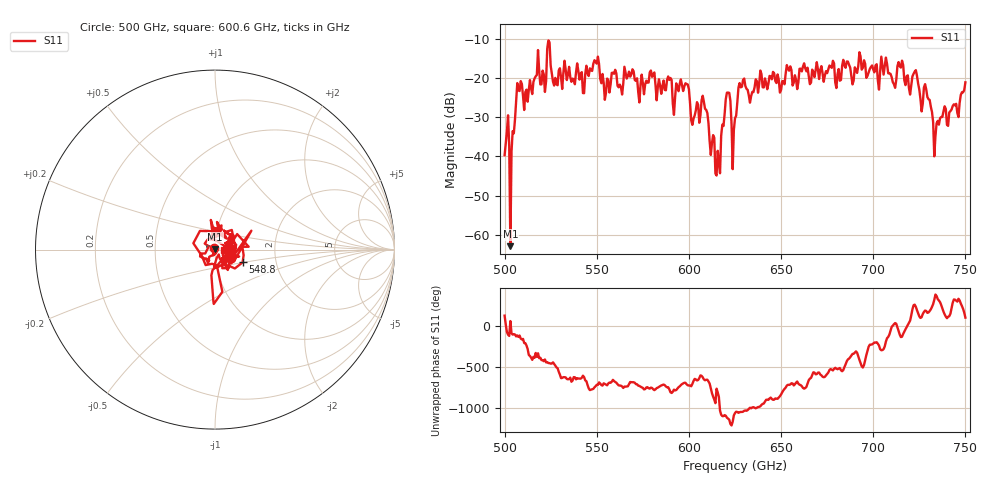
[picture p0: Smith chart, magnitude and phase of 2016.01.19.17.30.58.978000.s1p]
!Created with skrf (http://scikit-rf.org).
# GHz S RI R 50.0
!freq ReS11 ImS11
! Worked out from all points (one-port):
!   401 points, 500 GHz to 750 GHz, reference 50 ohm
!   lowest |S11| = -62.9 dB at 503.1 GHz (marker M1), VSWR 1.00, Z = 50 + j0.0602 ohm
!   |S11| at or under -10 dB: start of sweep to end of sweep
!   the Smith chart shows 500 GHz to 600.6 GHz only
!   S11 on the Smith chart (normalised r, x): 500 GHz: 0.99, +0.02; 548.8 GHz: 1.35, -0.20; 600.6 GHz: 1.10, -0.01
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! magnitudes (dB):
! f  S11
! 500 GHz  -39.7
! 503.1 GHz  -62.9
! 504.4 GHz  -33.5
! 505.6 GHz  -30.6
! 508.1 GHz  -23.3
! 521.2 GHz  -19.1
! 524.4 GHz  -10.9
! 527.5 GHz  -19.9
! 531.2 GHz  -22.8
! 548.8 GHz  -15.4
! 562.5 GHz  -21.7
! 568.8 GHz  -19.0
! 593.8 GHz  -22.2
! 600.6 GHz  -26.4
! 608.8 GHz  -27.8
! 615.6 GHz  -38.6
! 620.6 GHz  -23.7
! 625 GHz  -30.3
! 628.8 GHz  -22.2
! 656.2 GHz  -21.9
! 687.5 GHz  -17.3
! 705.6 GHz  -19.1
! 711.2 GHz  -21.6
! 715 GHz  -17.3
! 718.8 GHz  -19.3
! 728.8 GHz  -22.9
! 734.4 GHz  -31.6
! 750 GHz  -21.1
